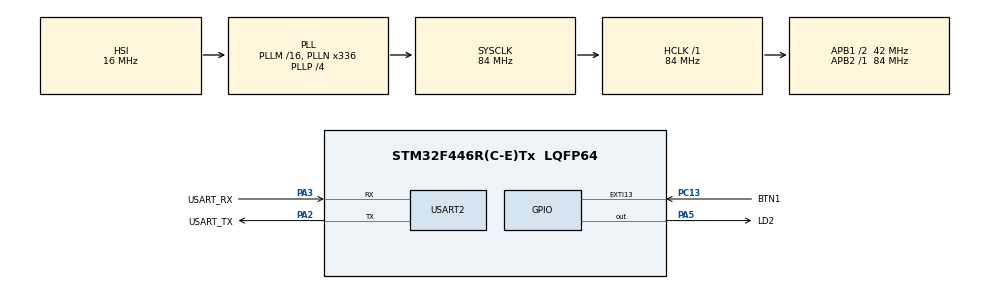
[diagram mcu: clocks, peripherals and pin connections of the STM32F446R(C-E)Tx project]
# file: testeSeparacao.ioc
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Mcu.Family=STM32F4
Mcu.Name=STM32F446R(C-E)Tx
Mcu.Package=LQFP64
NVIC.PriorityGroup=NVIC_PRIORITYGROUP_0
PA13.GPIO_Label=TMS
PA13.Mode=Serial_Wire
PA13.Signal=SYS_JTMS-SWDIO
PA14.GPIO_Label=TCK
PA14.Mode=Serial_Wire
PA14.Signal=SYS_JTCK-SWCLK
PA2.GPIO_Label=USART_TX
PA2.Mode=Asynchronous
PA2.Signal=USART2_TX
PA3.GPIO_Label=USART_RX
PA3.Mode=Asynchronous
PA3.Signal=USART2_RX
PA5.GPIO_Label=LD2
PA5.Signal=GPIO_Output
PB3.GPIO_Label=SWO
PB3.Signal=SYS_JTDO-SWO
PC13.GPIO_Label=BTN1
PC13.GPIO_ModeDefaultEXTI=GPIO_MODE_IT_FALLING
PC13.Signal=GPXTI13
PC14-OSC32_IN.Mode=LSE-External-Oscillator
PC14-OSC32_IN.Signal=RCC_OSC32_IN
PC15-OSC32_OUT.Mode=LSE-External-Oscillator
PC15-OSC32_OUT.Signal=RCC_OSC32_OUT
PH0-OSC_IN.Mode=HSE-External-Oscillator
PH0-OSC_IN.Signal=RCC_OSC_IN
PH1-OSC_OUT.Mode=HSE-External-Oscillator
PH1-OSC_OUT.Signal=RCC_OSC_OUT
ProjectManager.HeapSize=0x200
ProjectManager.StackSize=0x400
ProjectManager.TargetToolchain=STM32CubeIDE
RCC.48MHZClocksFreq_Value=84000000
RCC.AHBFreq_Value=84000000
RCC.APB1CLKDivider=RCC_HCLK_DIV2
RCC.APB1Freq_Value=42000000
RCC.APB1TimFreq_Value=84000000
RCC.APB2Freq_Value=84000000
RCC.APB2TimFreq_Value=84000000
RCC.CortexFreq_Value=84000000
RCC.FLatency-AdvancedSettings=FLASH_LATENCY_2
RCC.HCLKFreq_Value=84000000
RCC.HSE_VALUE=8000000
RCC.HSI_VALUE=16000000
RCC.PLLN=336
RCC.PLLP=RCC_PLLP_DIV4
RCC.SYSCLKFreq_VALUE=84000000
RCC.SYSCLKSource=RCC_SYSCLKSOURCE_PLLCLK
RCC.USBFreq_Value=168000000
RCC.VCOOutputFreq_Value=336000000
USART2.VirtualMode=VM_ASYNC
board=NUCLEO-F446RE

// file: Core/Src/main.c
/* USER CODE BEGIN Header */
/**
 ******************************************************************************
 * @file           : main.c
 * @brief          : Main program body
 ******************************************************************************
 * @attention
 *
 * Copyright (c) 2025 STMicroelectronics.
 * All rights reserved.
 *
 * This software is licensed under terms that can be found in the LICENSE file
 * in the root directory of this software component.
 * If no LICENSE file comes with this software, it is provided AS-IS.
 *
 ******************************************************************************
 */
/* USER CODE END Header */
#include "main.h"
#include "usart.h"
#include "gpio.h"

/* USER CODE BEGIN Includes */
#include <stdio.h>
#include <string.h>
/* USER CODE END Includes */

/* USER CODE BEGIN PV */
static char msg[] = "Iniciando as atividades\r\n";
static char msgOn[] = "Led ligado\r\n";
static char msgOf[] = "Led desligado\r\n";
/* USER CODE END PV */

void SystemClock_Config(void);

int main(void) {

	/* MCU Configuration--------------------------------------------------------*/

	/* Reset of all peripherals, Initializes the Flash interface and the Systick. */
	HAL_Init();

	/* Configure the system clock */
	SystemClock_Config();

	/* Initialize all configured peripherals */
	MX_GPIO_Init();
	MX_USART2_UART_Init();
	/* USER CODE BEGIN 2 */
	//Envia a msg pela serial
	HAL_UART_Transmit(&huart2, (uint8_t*) msg, (uint16_t) strlen(msg), 100);
	/* USER CODE END 2 */

	/* Infinite loop */
	/* USER CODE BEGIN WHILE */
	while (1) {
		if (HAL_GPIO_ReadPin(BTN1_GPIO_Port, BTN1_Pin) == GPIO_PIN_RESET) {
			HAL_Delay(200);
			HAL_GPIO_WritePin(LD2_GPIO_Port, LD2_Pin, GPIO_PIN_SET);
			HAL_UART_Transmit(&huart2, (uint8_t*) msgOn,
					(uint16_t) strlen(msgOn), 100);
		} else {
			HAL_Delay(200);
			HAL_GPIO_WritePin(LD2_GPIO_Port, LD2_Pin, GPIO_PIN_RESET);
			HAL_UART_Transmit(&huart2, (uint8_t*) msgOf,
					(uint16_t) strlen(msgOf), 100);
		}
		/* USER CODE END WHILE */

	}
}

void SystemClock_Config(void) {
	RCC_OscInitTypeDef RCC_OscInitStruct = { 0 };
	RCC_ClkInitTypeDef RCC_ClkInitStruct = { 0 };

	/** Configure the main internal regulator output voltage
	 */
	__HAL_RCC_PWR_CLK_ENABLE();
	__HAL_PWR_VOLTAGESCALING_CONFIG(PWR_REGULATOR_VOLTAGE_SCALE3);

	/** Initializes the RCC Oscillators according to the specified parameters
	 * in the RCC_OscInitTypeDef structure.
	 */
	RCC_OscInitStruct.OscillatorType = RCC_OSCILLATORTYPE_HSI;
	RCC_OscInitStruct.HSIState = RCC_HSI_ON;
	RCC_OscInitStruct.HSICalibrationValue = RCC_HSICALIBRATION_DEFAULT;
	RCC_OscInitStruct.PLL.PLLState = RCC_PLL_ON;
	RCC_OscInitStruct.PLL.PLLSource = RCC_PLLSOURCE_HSI;
	RCC_OscInitStruct.PLL.PLLM = 16;
	RCC_OscInitStruct.PLL.PLLN = 336;
	RCC_OscInitStruct.PLL.PLLP = RCC_PLLP_DIV4;
	RCC_OscInitStruct.PLL.PLLQ = 2;
	RCC_OscInitStruct.PLL.PLLR = 2;
	if (HAL_RCC_OscConfig(&RCC_OscInitStruct) != HAL_OK) {
		Error_Handler();
	}

	/** Initializes the CPU, AHB and APB buses clocks
	 */
	RCC_ClkInitStruct.ClockType = RCC_CLOCKTYPE_HCLK | RCC_CLOCKTYPE_SYSCLK
			| RCC_CLOCKTYPE_PCLK1 | RCC_CLOCKTYPE_PCLK2;
	RCC_ClkInitStruct.SYSCLKSource = RCC_SYSCLKSOURCE_PLLCLK;
	RCC_ClkInitStruct.AHBCLKDivider = RCC_SYSCLK_DIV1;
	RCC_ClkInitStruct.APB1CLKDivider = RCC_HCLK_DIV2;
	RCC_ClkInitStruct.APB2CLKDivider = RCC_HCLK_DIV1;

	if (HAL_RCC_ClockConfig(&RCC_ClkInitStruct, FLASH_LATENCY_2) != HAL_OK) {
		Error_Handler();
	}
}

void Error_Handler(void) {
	__disable_irq();
	while (1) {
	}
}
